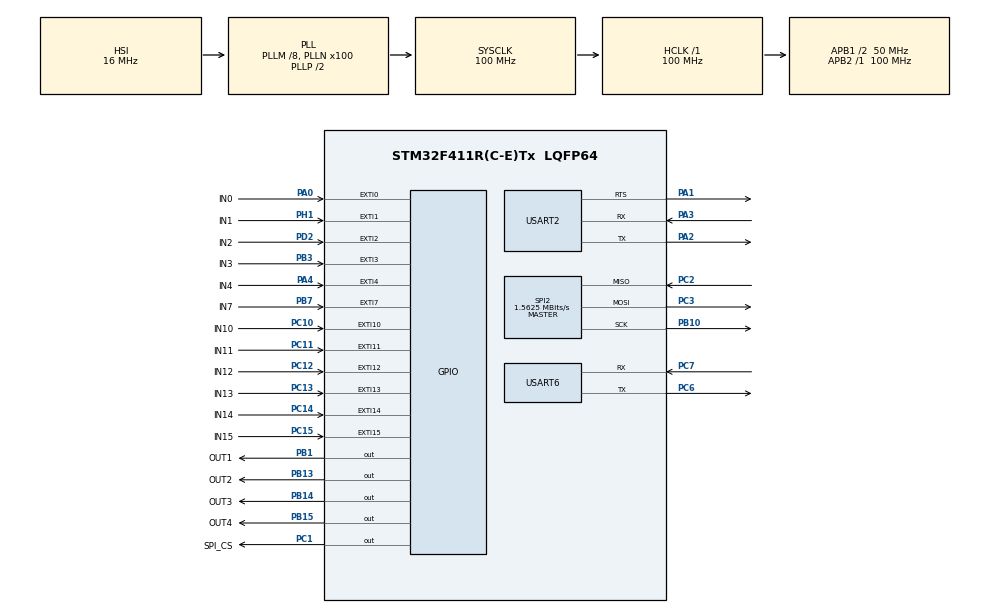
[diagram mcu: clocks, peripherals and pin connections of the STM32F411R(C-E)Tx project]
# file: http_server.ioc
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Mcu.Family=STM32F4
Mcu.Name=STM32F411R(C-E)Tx
Mcu.Package=LQFP64
NVIC.EXTI0_IRQn=true\:0\:0\:false\:false\:true
NVIC.EXTI15_10_IRQn=true\:0\:0\:false\:false\:true
NVIC.EXTI1_IRQn=true\:0\:0\:false\:false\:true
NVIC.EXTI2_IRQn=true\:0\:0\:false\:false\:true
NVIC.EXTI3_IRQn=true\:0\:0\:false\:false\:true
NVIC.EXTI4_IRQn=true\:0\:0\:false\:false\:true
NVIC.EXTI9_5_IRQn=true\:0\:0\:false\:false\:true
NVIC.PriorityGroup=NVIC_PRIORITYGROUP_0
NVIC.SPI2_IRQn=true\:0\:0\:false\:false\:true
NVIC.USART2_IRQn=true\:0\:0\:false\:false\:true
NVIC.USART6_IRQn=true\:0\:0\:false\:false\:true
PA0-WKUP.GPIO_Label=IN0
PA0-WKUP.GPIO_ModeDefaultEXTI=GPIO_MODE_IT_RISING_FALLING
PA0-WKUP.Signal=GPXTI0
PA1.Mode=RTS_Only
PA1.Signal=USART2_RTS
PA13.GPIO_Label=TMS
PA13.Signal=SYS_JTMS-SWDIO
PA14.GPIO_Label=TCK
PA14.Signal=SYS_JTCK-SWCLK
PA2.Mode=Asynchronous
PA2.Signal=USART2_TX
PA3.Mode=Asynchronous
PA3.Signal=USART2_RX
PA4.GPIO_Label=IN4
PA4.GPIO_ModeDefaultEXTI=GPIO_MODE_IT_RISING_FALLING
PA4.Signal=GPXTI4
PB1.GPIO_Label=OUT1
PB1.PinState=GPIO_PIN_SET
PB1.Signal=GPIO_Output
PB10.Mode=Full_Duplex_Master
PB10.Signal=SPI2_SCK
PB13.GPIO_Label=OUT2
PB13.PinState=GPIO_PIN_SET
PB13.Signal=GPIO_Output
PB14.GPIO_Label=OUT3
PB14.PinState=GPIO_PIN_SET
PB14.Signal=GPIO_Output
PB15.GPIO_Label=OUT4
PB15.PinState=GPIO_PIN_SET
PB15.Signal=GPIO_Output
PB3.GPIO_Label=IN3
PB3.GPIO_ModeDefaultEXTI=GPIO_MODE_IT_RISING_FALLING
PB3.Signal=GPXTI3
PB7.GPIO_Label=IN7
PB7.GPIO_ModeDefaultEXTI=GPIO_MODE_IT_RISING_FALLING
PB7.Signal=GPXTI7
PC1.GPIO_Label=SPI_CS
PC1.GPIO_Speed=GPIO_SPEED_FREQ_VERY_HIGH
PC1.Signal=GPIO_Output
PC10.GPIO_Label=IN10
PC10.GPIO_ModeDefaultEXTI=GPIO_MODE_IT_RISING_FALLING
PC10.Signal=GPXTI10
PC11.GPIO_Label=IN11
PC11.GPIO_ModeDefaultEXTI=GPIO_MODE_IT_RISING_FALLING
PC11.Signal=GPXTI11
PC12.GPIO_Label=IN12
PC12.GPIO_ModeDefaultEXTI=GPIO_MODE_IT_RISING_FALLING
PC12.Signal=GPXTI12
PC13-ANTI_TAMP.GPIO_Label=IN13
PC13-ANTI_TAMP.GPIO_ModeDefaultEXTI=GPIO_MODE_IT_RISING_FALLING
PC13-ANTI_TAMP.Signal=GPXTI13
PC14-OSC32_IN.GPIO_Label=IN14
PC14-OSC32_IN.GPIO_ModeDefaultEXTI=GPIO_MODE_IT_RISING_FALLING
PC14-OSC32_IN.Signal=GPXTI14
PC15-OSC32_OUT.GPIO_Label=IN15
PC15-OSC32_OUT.GPIO_ModeDefaultEXTI=GPIO_MODE_IT_RISING_FALLING
PC15-OSC32_OUT.Signal=GPXTI15
PC2.Mode=Full_Duplex_Master
PC2.Signal=SPI2_MISO
PC3.Mode=Full_Duplex_Master
PC3.Signal=SPI2_MOSI
PC6.Mode=Asynchronous
PC6.Signal=USART6_TX
PC7.Mode=Asynchronous
PC7.Signal=USART6_RX
PD2.GPIO_Label=IN2
PD2.GPIO_ModeDefaultEXTI=GPIO_MODE_IT_RISING_FALLING
PD2.Signal=GPXTI2
PH1\ -\ OSC_OUT.GPIO_Label=IN1
PH1\ -\ OSC_OUT.GPIO_ModeDefaultEXTI=GPIO_MODE_IT_RISING_FALLING
PH1\ -\ OSC_OUT.Signal=GPXTI1
ProjectManager.HeapSize=0x200
ProjectManager.StackSize=0x400
ProjectManager.TargetToolchain=MDK-ARM V5
RCC.48MHZClocksFreq_Value=50000000
RCC.AHBFreq_Value=100000000
RCC.APB1CLKDivider=RCC_HCLK_DIV2
RCC.APB1Freq_Value=50000000
RCC.APB1TimFreq_Value=100000000
RCC.APB2Freq_Value=100000000
RCC.APB2TimFreq_Value=100000000
RCC.CortexFreq_Value=100000000
RCC.FLatency-AdvancedSettings=FLASH_LATENCY_3
RCC.HCLKFreq_Value=100000000
RCC.HSE_VALUE=8000000
RCC.HSI_VALUE=16000000
RCC.LSE_VALUE=32768
RCC.PLLM=8
RCC.PLLN=100
RCC.SYSCLKFreq_VALUE=100000000
RCC.SYSCLKSource=RCC_SYSCLKSOURCE_PLLCLK
RCC.VCOOutputFreq_Value=200000000
RTC.Format=RTC_FORMAT_BIN
RTC.WeekDay=RTC_WEEKDAY_SUNDAY
RTC.Year=17
SPI2.BaudRatePrescaler=SPI_BAUDRATEPRESCALER_32
SPI2.CalculateBaudRate=1.5625 MBits/s
SPI2.Direction=SPI_DIRECTION_2LINES
SPI2.Mode=SPI_MODE_MASTER
SPI2.VirtualType=VM_MASTER
USART2.VirtualMode=VM_ASYNC
USART6.VirtualMode=VM_ASYNC
VP_RTC_VS_RTC_Activate.Mode=RTC_Enabled
VP_RTC_VS_RTC_Calendar.Mode=RTC_Calendar
board=NUCLEO-F411RE

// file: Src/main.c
/**
  ******************************************************************************
  * File Name          : main.c
  * Description        : Main program body
  ******************************************************************************
  ** This notice applies to any and all portions of this file
  * that are not between comment pairs USER CODE BEGIN and
  * USER CODE END. Other portions of this file, whether
  * inserted by the user or by software development tools
  * are owned by their respective copyright owners.
  *
  * COPYRIGHT(c) 2017 STMicroelectronics
  *
  * Redistribution and use in source and binary forms, with or without modification,
  * are permitted provided that the following conditions are met:
  *   1. Redistributions of source code must retain the above copyright notice,
  *      this list of conditions and the following disclaimer.
  *   2. Redistributions in binary form must reproduce the above copyright notice,
  *      this list of conditions and the following disclaimer in the documentation
  *      and/or other materials provided with the distribution.
  *   3. Neither the name of STMicroelectronics nor the names of its contributors
  *      may be used to endorse or promote products derived from this software
  *      without specific prior written permission.
  *
  * THIS SOFTWARE IS PROVIDED BY THE COPYRIGHT HOLDERS AND CONTRIBUTORS "AS IS"
  * AND ANY EXPRESS OR IMPLIED WARRANTIES, INCLUDING, BUT NOT LIMITED TO, THE
  * IMPLIED WARRANTIES OF MERCHANTABILITY AND FITNESS FOR A PARTICULAR PURPOSE ARE
  * DISCLAIMED. IN NO EVENT SHALL THE COPYRIGHT HOLDER OR CONTRIBUTORS BE LIABLE
  * FOR ANY DIRECT, INDIRECT, INCIDENTAL, SPECIAL, EXEMPLARY, OR CONSEQUENTIAL
  * DAMAGES (INCLUDING, BUT NOT LIMITED TO, PROCUREMENT OF SUBSTITUTE GOODS OR
  * SERVICES; LOSS OF USE, DATA, OR PROFITS; OR BUSINESS INTERRUPTION) HOWEVER
  * CAUSED AND ON ANY THEORY OF LIABILITY, WHETHER IN CONTRACT, STRICT LIABILITY,
  * OR TORT (INCLUDING NEGLIGENCE OR OTHERWISE) ARISING IN ANY WAY OUT OF THE USE
  * OF THIS SOFTWARE, EVEN IF ADVISED OF THE POSSIBILITY OF SUCH DAMAGE.
  *
  ******************************************************************************
  */
#include "main.h"
#include "stm32f4xx_hal.h"

/* USER CODE BEGIN Includes */

#include "../ioLibrary_Driver-master/Ethernet/wizchip_conf.h"
#include "../ioLibrary_Driver-master/Ethernet/socket.h"
#include "../ioLibrary_Driver-master/Internet/SNTP/sntp.h"
#include <string.h>

/* USER CODE END Includes */

RTC_HandleTypeDef hrtc;

SPI_HandleTypeDef hspi2;

UART_HandleTypeDef huart2;
UART_HandleTypeDef huart6;

/* USER CODE BEGIN PV */
/* Private variables ---------------------------------------------------------*/

#define http_debug

#define SEPARATOR							"=============================================\r\n"
#define WELCOME_MSG			 			"Welcome to W5100 configuration\r\n"
#define NETWORK_MSG					 	"Network configuration:\r\n"
#define IP_MSG 		 		 				" IP ADDRESS:  %d.%d.%d.%d\r\n"
#define NETMASK_MSG					 	" NETMASK:     %d.%d.%d.%d\r\n"
#define GW_MSG 		 		 				" GATEWAY:     %d.%d.%d.%d\r\n"
#define MAC_MSG		 		 				" MAC ADDRESS: %x:%x:%x:%x:%x:%x\r\n"
#define CONN_ESTABLISHED_MSG 	"Connection established with remote IP: %d.%d.%d.%d:%d\r\n"
#define SENT_MESSAGE_MSG	 		"Sent a message. Let's close the socket!\r\n"
#define WRONG_RETVAL_MSG	 		"Something went wrong; return value: %d\r\n"
#define WRONG_STATUS_MSG	 		"Something went wrong; STATUS: %d\r\n"
#define LISTEN_ERR_MSG		 		"LISTEN Error!\r\n"

char http_data[1024];
char http_request[1024];
uint16_t http_request_len=0;

uint8_t hour=0;
uint8_t minute=0;
uint8_t second=0;

uint16_t year=0;
uint8_t month=0;
uint8_t day=0;

uint8_t ntp_buf[512];

uint8_t output[4];
uint8_t input[12];

/* USER CODE END PV */

void SystemClock_Config(void);
static void MX_GPIO_Init(void);
static void MX_USART6_UART_Init(void);
static void MX_SPI2_Init(void);
static void MX_RTC_Init(void);
static void MX_USART2_UART_Init(void);

/* USER CODE BEGIN PFP */
/* Private function prototypes -----------------------------------------------*/

void cs_sel(void);
void cs_desel(void);
uint8_t spi_rb(void);
void spi_wb(uint8_t b);
void HAL_GPIO_EXTI_Callback(uint16_t GPIO_Pin);

/* USER CODE END PFP */

int main(void)
{

  /* MCU Configuration----------------------------------------------------------*/

  /* Reset of all peripherals, Initializes the Flash interface and the Systick. */
  HAL_Init();

  /* Configure the system clock */
  SystemClock_Config();

  /* Initialize all configured peripherals */
  MX_GPIO_Init();
  MX_USART6_UART_Init();
  MX_SPI2_Init();
  MX_RTC_Init();
  MX_USART2_UART_Init();

  /* USER CODE BEGIN 2 */

#ifdef http_debug
	char msg[60];
#endif

	RTC_TimeTypeDef RTC_Time;
	RTC_DateTypeDef RTC_Date;

	uint8_t retVal, sockStatus;
	uint8_t bufSize[] = {2, 2, 2, 2};

#ifdef http_debug
	HAL_UART_Transmit(&huart6, (uint8_t*)SEPARATOR, strlen(SEPARATOR), 100);
	HAL_UART_Transmit(&huart6, (uint8_t*)WELCOME_MSG, strlen(WELCOME_MSG), 100);
	HAL_UART_Transmit(&huart6, (uint8_t*)SEPARATOR, strlen(SEPARATOR), 100);
#endif

	reg_wizchip_cs_cbfunc(cs_sel, cs_desel);
	reg_wizchip_spi_cbfunc(spi_rb, spi_wb);

	wizchip_init(bufSize, bufSize);
	wiz_NetInfo netInfo = { .mac 	= {0x02, 0x08, 0xdc, 0xab, 0xcd, 0xef},	// Mac address
													.ip 	= {192, 168, 2, 5},					// IP address
													.sn 	= {255, 255, 255, 0},					// Subnet mask
													.gw 	= {192, 168, 2, 2},
													.dns = {8, 8, 8, 8},
													.dhcp = NETINFO_STATIC};					// Gateway address
	wizchip_setnetinfo(&netInfo);

	uint8_t NTP_addr[4] = {194,146,251,100};
	datetime time;

#ifdef http_debug
	wizchip_getnetinfo(&netInfo);
	HAL_UART_Transmit(&huart6, (uint8_t*)NETWORK_MSG, strlen(NETWORK_MSG), 100);
	sprintf(msg, MAC_MSG, netInfo.mac[0], netInfo.mac[1], netInfo.mac[2], netInfo.mac[3], netInfo.mac[4], netInfo.mac[5]);
	HAL_UART_Transmit(&huart6, (uint8_t*)msg, strlen(msg), 100);
	sprintf(msg, IP_MSG, netInfo.ip[0], netInfo.ip[1], netInfo.ip[2], netInfo.ip[3]);
	HAL_UART_Transmit(&huart6, (uint8_t*)msg, strlen(msg), 100);
	sprintf(msg, NETMASK_MSG, netInfo.sn[0], netInfo.sn[1], netInfo.sn[2], netInfo.sn[3]);
	HAL_UART_Transmit(&huart6, (uint8_t*)msg, strlen(msg), 100);
	sprintf(msg, GW_MSG, netInfo.gw[0], netInfo.gw[1], netInfo.gw[2], netInfo.gw[3]);
	HAL_UART_Transmit(&huart6, (uint8_t*)msg, strlen(msg), 100);
#endif

	SNTP_init(1,NTP_addr,24,ntp_buf);

  /* USER CODE END 2 */

  /* Infinite loop */
	while (1)
	{

  /* USER CODE BEGIN 3 */
/* Open socket 0 as TCP_SOCKET with port 80 */
	if((retVal = socket(0, Sn_MR_TCP, 80, 0)) == 0) {
		/* Put socket in LISTEN mode. This means we are creating a TCP server */
		if((retVal = listen(0)) == SOCK_OK) {
			/* While socket is in LISTEN mode we wait for a remote connection */
			while(sockStatus = getSn_SR(0) == SOCK_LISTEN)
				HAL_Delay(250);
			/* OK. Got a remote peer. Let's send a message to it */
			while(1) {
				/* If connection is ESTABLISHED with remote peer */
				sockStatus = getSn_SR(0);
				if(sockStatus == SOCK_ESTABLISHED) {
#ifdef http_debug
					uint8_t remoteIP[4];
					uint16_t remotePort;
					/* Retrieving remote peer IP and port number */
					getsockopt(0, SO_DESTIP, remoteIP);
					getsockopt(0, SO_DESTPORT, (uint8_t*)&remotePort);
					sprintf(msg, CONN_ESTABLISHED_MSG, remoteIP[0], remoteIP[1], remoteIP[2], remoteIP[3], remotePort);
					HAL_UART_Transmit(&huart6, (uint8_t*)msg, strlen(msg), 100);
#endif
					http_request_len = recv(0,(uint8_t *)http_request,2048);
#ifdef http_debug
					HAL_UART_Transmit(&huart6, (uint8_t*)http_request, http_request_len, 100);
#endif
					while(strstr(http_request,"\r\n\r\n") == NULL){
						http_request_len = recv(0,(uint8_t *)http_request,2048);
#ifdef http_debug
						HAL_UART_Transmit(&huart6, (uint8_t*)http_request, http_request_len, 100);
#endif
					}
					if(strstr(http_request,"GET / HTTP/1.1\r\n") != NULL){
						sprintf(http_data,"HTTP/1.1 200 OK\r\n"
															"Content-Type: text/html\r\n"
															"Connection: close\r\n"
															"\r\n"
															"<!DOCTYPE HTML>\r\n"
															"<HTML>\r\n"
															"<HEAD>\r\n"
															"<TITLE>Clock</TITLE>\r\n"
															"</HEAD>\r\n"
															"<BODY>\r\n"
															"<a href=""wyjscia"">Wyjscia</a>\r\n"
															"<br>\r\n"
															"<a href=""inputs"">Wejscia</a>\r\n"
															"<br>\r\n"
															"<a href=""sensors"">Czujniki</a>\r\n"
															"<br>\r\n"
															"<a href=""config"">Konfiguracja</a>\r\n"
															"<br>\r\n"
															"</BODY>\r\n"
															"</HTML>");
					}
					else if(strstr(http_request,"GET /config HTTP/1.1\r\n") != NULL){
						/* Let's send a welcome message and closing socket */
						HAL_RTC_GetTime(&hrtc,&RTC_Time,RTC_FORMAT_BIN);
						HAL_RTC_GetDate(&hrtc,&RTC_Date,RTC_FORMAT_BIN);
						hour=RTC_Time.Hours;
						minute=RTC_Time.Minutes;
						second=RTC_Time.Seconds;

						year=RTC_Date.Year+2000;
						month=RTC_Date.Month;
						day=RTC_Date.Date;
						if( (RTC_Date.Month > 2 && RTC_Date.Month < 9)	// miesiace od kwietnia do wrzesnia wlacznie
										|| (RTC_Date.Month == 2 && RTC_Date.Month > ( 31 - ( ( 31 - RTC_Date.Date + RTC_Date.WeekDay % 7 ) % 7 ) ) )	// dni marca po ostaniej niedzieli
										|| (RTC_Date.Month == 2 && RTC_Date.Month == ( 31 - ( ( 31 - RTC_Date.Date + RTC_Date.WeekDay % 7 ) % 7 ) ) && RTC_Time.Hours > 0 )	// ostatnia niedziela marca, po godzinie 1.00
										|| (RTC_Date.Month == 9 && RTC_Date.Month < ( 31 - ( ( 31 - RTC_Date.Date + RTC_Date.WeekDay % 7) % 7 ) ) )	// dni pazdziernika przed ostatnia niedziela
										|| (RTC_Date.Month == 9 && RTC_Date.Month == ( 31 - ( ( 31 - RTC_Date.Date + RTC_Date.WeekDay % 7) % 7 ) ) && RTC_Time.Hours < 1 ) )	// ostatnia niedziela pazdziernika, przed godzina 1.00
						{
//								if((hour=(hour+1)%24) == 0){
//									month=month+1%12;
//								};
						}
						sprintf(http_data,"HTTP/1.1 200 OK\r\n"
															"Content-Type: text/html\r\n"
															"Connection: close\r\n"
															"Refresh: 1\r\n"
															"\r\n"
															"<!DOCTYPE HTML>\r\n"
															"<HTML>\r\n"
															"<HEAD>\r\n"
															"<TITLE>Konfiguracja</TITLE>\r\n"
															"</HEAD>\r\n"
															"<BODY>\r\n"
															"<h3>Konfiguracja sieciowa</h1>\r\n"
															"Adres IP: %d.%d.%d.%d\r\n"
															"<br>\r\n"
															"Maska podsieci: %d.%d.%d.%d\r\n"
															"<br>\r\n"
															"Port: 80\r\n"
															"<h3>Czas</h1>"
															"Data: %02d-%02d-%04d\r\n"
															"<br>\r\n"
															"Czas: %02d:%02d:%02d\r\n"
															"<br>\r\n"
															"Adres serwera SNTP: %d.%d.%d.%d\r\n"
															"<br>\r\n"
															"<a href=""sync_time"">Synchronizuj czas z NTP</a>\r\n"
															"</BODY>\r\n"
															"</HTML>",
															netInfo.ip[0],netInfo.ip[1],netInfo.ip[2],netInfo.ip[3],
															netInfo.sn[0], netInfo.sn[1], netInfo.sn[2], netInfo.sn[3],
															day,month,year,
															hour,minute,second,
															NTP_addr[0],NTP_addr[1],NTP_addr[2],NTP_addr[3]);
					}
					else if(strstr(http_request,"sync_time") != NULL){
						while (SNTP_run(&time) != 1);

						RTC_Time.Hours=time.hh;
						RTC_Time.Minutes=time.mm;
						RTC_Time.Seconds=time.ss;
						HAL_RTC_SetTime(&hrtc,&RTC_Time,RTC_FORMAT_BIN);

						RTC_Date.Year=time.yy-2000;
						RTC_Date.Month=time.mo;
						RTC_Date.Date=time.dd;
						HAL_RTC_SetDate(&hrtc,&RTC_Date,RTC_FORMAT_BIN);

						HAL_RTC_GetTime(&hrtc,&RTC_Time,RTC_FORMAT_BIN);
						HAL_RTC_GetDate(&hrtc,&RTC_Date,RTC_FORMAT_BIN);
						hour=RTC_Time.Hours;
						minute=RTC_Time.Minutes;
						second=RTC_Time.Seconds;

						year=RTC_Date.Year+2000;
						month=RTC_Date.Month;
						day=RTC_Date.Date;

						if( (RTC_Date.Month > 2 && RTC_Date.Month < 9)	// miesiace od kwietnia do wrzesnia wlacznie
										|| (RTC_Date.Month == 2 && RTC_Date.Month > ( 31 - ( ( 31 - RTC_Date.Date + RTC_Date.WeekDay % 7 ) % 7 ) ) )	// dni marca po ostaniej niedzieli
										|| (RTC_Date.Month == 2 && RTC_Date.Month == ( 31 - ( ( 31 - RTC_Date.Date + RTC_Date.WeekDay % 7 ) % 7 ) ) && RTC_Time.Hours > 0 )	// ostatnia niedziela marca, po godzinie 1.00
										|| (RTC_Date.Month == 9 && RTC_Date.Month < ( 31 - ( ( 31 - RTC_Date.Date + RTC_Date.WeekDay % 7) % 7 ) ) )	// dni pazdziernika przed ostatnia niedziela
										|| (RTC_Date.Month == 9 && RTC_Date.Month == ( 31 - ( ( 31 - RTC_Date.Date + RTC_Date.WeekDay % 7) % 7 ) ) && RTC_Time.Hours < 1 ) )	// ostatnia niedziela pazdziernika, przed godzina 1.00
						{
//								hour=(hour+1)%24;
						}
						sprintf(http_data,"HTTP/1.1 200 OK\r\n"
															"Content-Type: text/html\r\n"
															"Connection: close\r\n"
															"\r\n"
															"<!DOCTYPE HTML>\r\n"
															"<HTML>\r\n"
															"<HEAD>\r\n"
															"<TITLE>Synchronizacja czasu</TITLE>\r\n"
															"</HEAD>\r\n"
															"<BODY>\r\n"
															"Synchronizacja czasu z serwerem NTP przebiegla pomyslnie</BODY>\r\n"
															"<br>\r\n"
															"Data: %02d-%02d-%04d\r\n"
															"<br>\r\n"
															"Czas: %02d:%02d:%02d\r\n"
															"<br>\r\n"
															"<a href=""config"">PowrСt</a>\r\n"
															"</BODY>\r\n"
															"</HTML>",
															day,month,year,
															hour,minute,second);
					}
					else if(strstr(http_request,"inputs") != NULL){
						sprintf(http_data,"HTTP/1.1 200 OK\r\n"
															"Content-Type: text/html\r\n"
															"Connection: close\r\n"
															"Refresh: 1\r\n"
															"\r\n"
															"<!DOCTYPE HTML>\r\n"
															"<HTML>\r\n"
															"<HEAD>\r\n"
															"<TITLE>Wejscia</TITLE>\r\n"
															"</HEAD>\r\n"
															"<BODY>\r\n"
															"Wejscie1: %d\r\n"
															"<br>\r\n"
															"Wejscie2: %d\r\n"
															"<br>\r\n"
															"Wejscie3: %d\r\n"
															"<br>\r\n"
															"Wejscie4: %d\r\n"
															"<br>\r\n"
															"Wejscie5: %d\r\n"
															"<br>\r\n"
															"Wejscie6: %d\r\n"
															"<br>\r\n"
															"Wejscie7: %d\r\n"
															"<br>\r\n"
															"Wejscie8: %d\r\n"
															"<br>\r\n"
															"Wejscie9: %d\r\n"
															"<br>\r\n"
															"Wejscie10: %d\r\n"
															"<br>\r\n"
															"Wejscie11: %d\r\n"
															"<br>\r\n"
															"Wejscie12: %d\r\n"
															"<br>\r\n"
															"</BODY>\r\n"
															"</HTML>",
															input[0],input[1],input[2],input[3],
															input[4],input[5],input[6],input[7],
															input[8],input[9],input[10],input[11]);
					}
					else if(strstr(http_request,"wyjscia") != NULL){
						sprintf(http_data,"HTTP/1.1 200 OK\r\n"
															"Content-Type: text/html\r\n"
															"Connection: close\r\n"
															"\r\n"
															"<!DOCTYPE HTML>\r\n"
															"<HTML>\r\n"
															"<HEAD>\r\n"
															"<TITLE>Wyjscia</TITLE>\r\n"
															"</HEAD>\r\n"
															"<BODY>\r\n"
															"<br>\r\n"
															"Wyjscie1: %d <a href=""OUT1=0"">Wlacz</a> <a href=""OUT1=1"">Wylacz</a>\r\n"
															"<br>\r\n"
															"Wyjscie2: %d <a href=""OUT2=0"">Wlacz</a> <a href=""OUT2=1"">Wylacz</a>\r\n"
															"<br>\r\n"
															"Wyjscie3: %d <a href=""OUT3=0"">Wlacz</a> <a href=""OUT3=1"">Wylacz</a>\r\n"
															"<br>\r\n"
															"Wyjscie4: %d <a href=""OUT4=0"">Wlacz</a> <a href=""OUT4=1"">Wylacz</a>\r\n"
															"</BODY>\r\n"
															"</HTML>",
															output[0],output[1],output[2],output[3]);
					}
					else if(strstr(http_request,"sensors") != NULL){
						sprintf(http_data,"HTTP/1.1 200 OK\r\n"
															"Content-Type: text/html\r\n"
															"Connection: close\r\n"
															"\r\n"
															"<!DOCTYPE HTML>\r\n"
															"<HTML>\r\n"
															"<HEAD>\r\n"
															"<TITLE>Czujniki</TITLE>\r\n"
															"</HEAD>\r\n"
															"<BODY>\r\n"
															"</HTML>");
					}
					else if(strstr(http_request,"OUT1=1") != NULL){
						output[0]=0;
						HAL_GPIO_WritePin(GPIOB,GPIO_PIN_1,GPIO_PIN_SET);
					}
					else if(strstr(http_request,"OUT1=0") != NULL){
						output[0]=1;
						HAL_GPIO_WritePin(GPIOB,GPIO_PIN_1,GPIO_PIN_RESET);
					}
					else if(strstr(http_request,"OUT2=1") != NULL){
						output[1]=0;
						HAL_GPIO_WritePin(GPIOB,GPIO_PIN_15,GPIO_PIN_SET);
					}
					else if(strstr(http_request,"OUT2=0") != NULL){
						output[1]=1;
						HAL_GPIO_WritePin(GPIOB,GPIO_PIN_15,GPIO_PIN_RESET);
					}
					else if(strstr(http_request,"OUT3=1") != NULL){
						output[2]=0;
						HAL_GPIO_WritePin(GPIOB,GPIO_PIN_14,GPIO_PIN_SET);
					}
					else if(strstr(http_request,"OUT3=0") != NULL){
						output[2]=1;
						HAL_GPIO_WritePin(GPIOB,GPIO_PIN_14,GPIO_PIN_RESET);
					}
					else if(strstr(http_request,"OUT4=1") != NULL){
						output[3]=0;
						HAL_GPIO_WritePin(GPIOB,GPIO_PIN_13,GPIO_PIN_SET);
					}
					else if(strstr(http_request,"OUT4=0") != NULL){
						output[3]=1;
						HAL_GPIO_WritePin(GPIOB,GPIO_PIN_13,GPIO_PIN_RESET);
					}
					else{
						sprintf(http_data,"HTTP/1.1 404 Not Found\r\n"
															"Content-Type: text/plain; charset=utf-8\r\n"
															"Content-Length: 9\r\n"
															"Connection: close\r\n"
															"\r\n"
															"Not found\r\n");
					}

					retVal = send(0, (uint8_t *)http_data,strlen(http_data));
					if((int16_t)retVal == (int16_t)strlen(http_data))
					{
#ifdef http_debug
						HAL_UART_Transmit(&huart6, (uint8_t*)SENT_MESSAGE_MSG, strlen(SENT_MESSAGE_MSG), 100);
#endif
					}
					else { /* Ops: something went wrong during data transfer */
#ifdef http_debug
						sprintf(msg, WRONG_RETVAL_MSG, retVal);
						HAL_UART_Transmit(&huart6, (uint8_t*)msg, strlen(msg), 100);
#endif
					}
					break;
				}
				else { /* Something went wrong with remote peer, maybe the connection was closed unexpectedly */
#ifdef http_debug
					sprintf(msg, WRONG_STATUS_MSG, sockStatus);
					HAL_UART_Transmit(&huart6, (uint8_t*)msg, strlen(msg), 100);
#endif
					break;
				}
			}

		} else /* Ops: socket not in LISTEN mode. Something went wrong */
			{
#ifdef http_debug
			HAL_UART_Transmit(&huart6, (uint8_t*)LISTEN_ERR_MSG, strlen(LISTEN_ERR_MSG), 100);
#endif
			}
	} else { /* Can't open the socket. This means something is wrong with W5100 configuration: maybe SPI issue? */
#ifdef http_debug
		sprintf(msg, WRONG_RETVAL_MSG, retVal);
		HAL_UART_Transmit(&huart6, (uint8_t*)msg, strlen(msg), 100);
#endif
	}

	/* We close the socket and start a connection again */
	disconnect(0);
	close(0);

	}
  /* USER CODE END 3 */

}

/** System Clock Configuration
*/
void SystemClock_Config(void)
{

  RCC_OscInitTypeDef RCC_OscInitStruct;
  RCC_ClkInitTypeDef RCC_ClkInitStruct;
  RCC_PeriphCLKInitTypeDef PeriphClkInitStruct;

    /**Configure the main internal regulator output voltage
    */
  __HAL_RCC_PWR_CLK_ENABLE();

  __HAL_PWR_VOLTAGESCALING_CONFIG(PWR_REGULATOR_VOLTAGE_SCALE1);

    /**Initializes the CPU, AHB and APB busses clocks
    */
  RCC_OscInitStruct.OscillatorType = RCC_OSCILLATORTYPE_HSI|RCC_OSCILLATORTYPE_LSI;
  RCC_OscInitStruct.HSIState = RCC_HSI_ON;
  RCC_OscInitStruct.HSICalibrationValue = 16;
  RCC_OscInitStruct.LSIState = RCC_LSI_ON;
  RCC_OscInitStruct.PLL.PLLState = RCC_PLL_ON;
  RCC_OscInitStruct.PLL.PLLSource = RCC_PLLSOURCE_HSI;
  RCC_OscInitStruct.PLL.PLLM = 8;
  RCC_OscInitStruct.PLL.PLLN = 100;
  RCC_OscInitStruct.PLL.PLLP = RCC_PLLP_DIV2;
  RCC_OscInitStruct.PLL.PLLQ = 4;
  if (HAL_RCC_OscConfig(&RCC_OscInitStruct) != HAL_OK)
  {
    _Error_Handler(__FILE__, __LINE__);
  }

    /**Initializes the CPU, AHB and APB busses clocks
    */
  RCC_ClkInitStruct.ClockType = RCC_CLOCKTYPE_HCLK|RCC_CLOCKTYPE_SYSCLK
                              |RCC_CLOCKTYPE_PCLK1|RCC_CLOCKTYPE_PCLK2;
  RCC_ClkInitStruct.SYSCLKSource = RCC_SYSCLKSOURCE_PLLCLK;
  RCC_ClkInitStruct.AHBCLKDivider = RCC_SYSCLK_DIV1;
  RCC_ClkInitStruct.APB1CLKDivider = RCC_HCLK_DIV2;
  RCC_ClkInitStruct.APB2CLKDivider = RCC_HCLK_DIV1;

  if (HAL_RCC_ClockConfig(&RCC_ClkInitStruct, FLASH_LATENCY_3) != HAL_OK)
  {
    _Error_Handler(__FILE__, __LINE__);
  }

  PeriphClkInitStruct.PeriphClockSelection = RCC_PERIPHCLK_RTC;
  PeriphClkInitStruct.RTCClockSelection = RCC_RTCCLKSOURCE_LSI;
  if (HAL_RCCEx_PeriphCLKConfig(&PeriphClkInitStruct) != HAL_OK)
  {
    _Error_Handler(__FILE__, __LINE__);
  }

    /**Configure the Systick interrupt time
    */
  HAL_SYSTICK_Config(HAL_RCC_GetHCLKFreq()/1000);

    /**Configure the Systick
    */
  HAL_SYSTICK_CLKSourceConfig(SYSTICK_CLKSOURCE_HCLK);

  /* SysTick_IRQn interrupt configuration */
  HAL_NVIC_SetPriority(SysTick_IRQn, 0, 0);
}

/* RTC init function */
static void MX_RTC_Init(void)
{

  RTC_TimeTypeDef sTime;
  RTC_DateTypeDef sDate;

    /**Initialize RTC Only
    */
  hrtc.Instance = RTC;
  hrtc.Init.HourFormat = RTC_HOURFORMAT_24;
  hrtc.Init.AsynchPrediv = 127;
  hrtc.Init.SynchPrediv = 255;
  hrtc.Init.OutPut = RTC_OUTPUT_DISABLE;
  hrtc.Init.OutPutPolarity = RTC_OUTPUT_POLARITY_HIGH;
  hrtc.Init.OutPutType = RTC_OUTPUT_TYPE_OPENDRAIN;
  if (HAL_RTC_Init(&hrtc) != HAL_OK)
  {
    _Error_Handler(__FILE__, __LINE__);
  }

    /**Initialize RTC and set the Time and Date
    */
  if(HAL_RTCEx_BKUPRead(&hrtc, RTC_BKP_DR0) != 0x32F2){
  sTime.Hours = 0;
  sTime.Minutes = 0;
  sTime.Seconds = 0;
  sTime.DayLightSaving = RTC_DAYLIGHTSAVING_NONE;
  sTime.StoreOperation = RTC_STOREOPERATION_RESET;
  if (HAL_RTC_SetTime(&hrtc, &sTime, RTC_FORMAT_BIN) != HAL_OK)
  {
    _Error_Handler(__FILE__, __LINE__);
  }

  sDate.WeekDay = RTC_WEEKDAY_SUNDAY;
  sDate.Month = RTC_MONTH_JANUARY;
  sDate.Date = 1;
  sDate.Year = 17;

  if (HAL_RTC_SetDate(&hrtc, &sDate, RTC_FORMAT_BIN) != HAL_OK)
  {
    _Error_Handler(__FILE__, __LINE__);
  }

    HAL_RTCEx_BKUPWrite(&hrtc,RTC_BKP_DR0,0x32F2);
  }

}

/* SPI2 init function */
static void MX_SPI2_Init(void)
{

  hspi2.Instance = SPI2;
  hspi2.Init.Mode = SPI_MODE_MASTER;
  hspi2.Init.Direction = SPI_DIRECTION_2LINES;
  hspi2.Init.DataSize = SPI_DATASIZE_8BIT;
  hspi2.Init.CLKPolarity = SPI_POLARITY_LOW;
  hspi2.Init.CLKPhase = SPI_PHASE_1EDGE;
  hspi2.Init.NSS = SPI_NSS_SOFT;
  hspi2.Init.BaudRatePrescaler = SPI_BAUDRATEPRESCALER_32;
  hspi2.Init.FirstBit = SPI_FIRSTBIT_MSB;
  hspi2.Init.TIMode = SPI_TIMODE_DISABLE;
  hspi2.Init.CRCCalculation = SPI_CRCCALCULATION_DISABLE;
  hspi2.Init.CRCPolynomial = 10;
  if (HAL_SPI_Init(&hspi2) != HAL_OK)
  {
    _Error_Handler(__FILE__, __LINE__);
  }

}

/* USART2 init function */
static void MX_USART2_UART_Init(void)
{

  huart2.Instance = USART2;
  huart2.Init.BaudRate = 115200;
  huart2.Init.WordLength = UART_WORDLENGTH_8B;
  huart2.Init.StopBits = UART_STOPBITS_1;
  huart2.Init.Parity = UART_PARITY_NONE;
  huart2.Init.Mode = UART_MODE_TX_RX;
  huart2.Init.HwFlowCtl = UART_HWCONTROL_RTS;
  huart2.Init.OverSampling = UART_OVERSAMPLING_16;
  if (HAL_UART_Init(&huart2) != HAL_OK)
  {
    _Error_Handler(__FILE__, __LINE__);
  }

}

/* USART6 init function */
static void MX_USART6_UART_Init(void)
{

  huart6.Instance = USART6;
  huart6.Init.BaudRate = 115200;
  huart6.Init.WordLength = UART_WORDLENGTH_8B;
  huart6.Init.StopBits = UART_STOPBITS_1;
  huart6.Init.Parity = UART_PARITY_NONE;
  huart6.Init.Mode = UART_MODE_TX_RX;
  huart6.Init.HwFlowCtl = UART_HWCONTROL_NONE;
  huart6.Init.OverSampling = UART_OVERSAMPLING_16;
  if (HAL_UART_Init(&huart6) != HAL_OK)
  {
    _Error_Handler(__FILE__, __LINE__);
  }

}

/** Configure pins as
        * Analog
        * Input
        * Output
        * EVENT_OUT
        * EXTI
*/
static void MX_GPIO_Init(void)
{

  GPIO_InitTypeDef GPIO_InitStruct;

  /* GPIO Ports Clock Enable */
  __HAL_RCC_GPIOC_CLK_ENABLE();
  __HAL_RCC_GPIOH_CLK_ENABLE();
  __HAL_RCC_GPIOA_CLK_ENABLE();
  __HAL_RCC_GPIOB_CLK_ENABLE();
  __HAL_RCC_GPIOD_CLK_ENABLE();

  /*Configure GPIO pin Output Level */
  HAL_GPIO_WritePin(SPI_CS_GPIO_Port, SPI_CS_Pin, GPIO_PIN_RESET);

  /*Configure GPIO pin Output Level */
  HAL_GPIO_WritePin(GPIOB, OUT1_Pin|OUT2_Pin|OUT3_Pin|OUT4_Pin, GPIO_PIN_SET);

  /*Configure GPIO pins : IN13_Pin IN14_Pin IN15_Pin IN10_Pin
                           IN11_Pin IN12_Pin */
  GPIO_InitStruct.Pin = IN13_Pin|IN14_Pin|IN15_Pin|IN10_Pin
                          |IN11_Pin|IN12_Pin;
  GPIO_InitStruct.Mode = GPIO_MODE_IT_RISING_FALLING;
  GPIO_InitStruct.Pull = GPIO_NOPULL;
  HAL_GPIO_Init(GPIOC, &GPIO_InitStruct);

  /*Configure GPIO pin : IN1_Pin */
  GPIO_InitStruct.Pin = IN1_Pin;
  GPIO_InitStruct.Mode = GPIO_MODE_IT_RISING_FALLING;
  GPIO_InitStruct.Pull = GPIO_NOPULL;
  HAL_GPIO_Init(IN1_GPIO_Port, &GPIO_InitStruct);

  /*Configure GPIO pin : SPI_CS_Pin */
  GPIO_InitStruct.Pin = SPI_CS_Pin;
  GPIO_InitStruct.Mode = GPIO_MODE_OUTPUT_PP;
  GPIO_InitStruct.Pull = GPIO_NOPULL;
  GPIO_InitStruct.Speed = GPIO_SPEED_FREQ_VERY_HIGH;
  HAL_GPIO_Init(SPI_CS_GPIO_Port, &GPIO_InitStruct);

  /*Configure GPIO pins : IN0_Pin IN4_Pin */
  GPIO_InitStruct.Pin = IN0_Pin|IN4_Pin;
  GPIO_InitStruct.Mode = GPIO_MODE_IT_RISING_FALLING;
  GPIO_InitStruct.Pull = GPIO_NOPULL;
  HAL_GPIO_Init(GPIOA, &GPIO_InitStruct);

  /*Configure GPIO pins : OUT1_Pin OUT2_Pin OUT3_Pin OUT4_Pin */
  GPIO_InitStruct.Pin = OUT1_Pin|OUT2_Pin|OUT3_Pin|OUT4_Pin;
  GPIO_InitStruct.Mode = GPIO_MODE_OUTPUT_PP;
  GPIO_InitStruct.Pull = GPIO_NOPULL;
  GPIO_InitStruct.Speed = GPIO_SPEED_FREQ_LOW;
  HAL_GPIO_Init(GPIOB, &GPIO_InitStruct);

  /*Configure GPIO pin : IN2_Pin */
  GPIO_InitStruct.Pin = IN2_Pin;
  GPIO_InitStruct.Mode = GPIO_MODE_IT_RISING_FALLING;
  GPIO_InitStruct.Pull = GPIO_NOPULL;
  HAL_GPIO_Init(IN2_GPIO_Port, &GPIO_InitStruct);

  /*Configure GPIO pins : IN3_Pin IN7_Pin */
  GPIO_InitStruct.Pin = IN3_Pin|IN7_Pin;
  GPIO_InitStruct.Mode = GPIO_MODE_IT_RISING_FALLING;
  GPIO_InitStruct.Pull = GPIO_NOPULL;
  HAL_GPIO_Init(GPIOB, &GPIO_InitStruct);

  /* EXTI interrupt init*/
  HAL_NVIC_SetPriority(EXTI0_IRQn, 0, 0);
  HAL_NVIC_EnableIRQ(EXTI0_IRQn);

  HAL_NVIC_SetPriority(EXTI1_IRQn, 0, 0);
  HAL_NVIC_EnableIRQ(EXTI1_IRQn);

  HAL_NVIC_SetPriority(EXTI2_IRQn, 0, 0);
  HAL_NVIC_EnableIRQ(EXTI2_IRQn);

  HAL_NVIC_SetPriority(EXTI3_IRQn, 0, 0);
  HAL_NVIC_EnableIRQ(EXTI3_IRQn);

  HAL_NVIC_SetPriority(EXTI4_IRQn, 0, 0);
  HAL_NVIC_EnableIRQ(EXTI4_IRQn);

  HAL_NVIC_SetPriority(EXTI9_5_IRQn, 0, 0);
  HAL_NVIC_EnableIRQ(EXTI9_5_IRQn);

  HAL_NVIC_SetPriority(EXTI15_10_IRQn, 0, 0);
  HAL_NVIC_EnableIRQ(EXTI15_10_IRQn);

}

/* USER CODE BEGIN 4 */

void cs_sel() {
	HAL_GPIO_WritePin(GPIOC, GPIO_PIN_1, GPIO_PIN_RESET); //CS LOW
}

void cs_desel() {
	HAL_GPIO_WritePin(GPIOC, GPIO_PIN_1, GPIO_PIN_SET); //CS HIGH
}

uint8_t spi_rb(void) {
	uint8_t rbuf;
	HAL_SPI_Receive(&hspi2, &rbuf, 1, 0xFFFFFFFF);
	return rbuf;
}

void spi_wb(uint8_t b) {
	HAL_SPI_Transmit(&hspi2, &b, 1, 0xFFFFFFFF);
}

void PRINT_STR(char *msg){
		HAL_UART_Transmit(&huart6, (uint8_t*)msg, strlen(msg), 100);
}

void HAL_GPIO_EXTI_Callback(uint16_t GPIO_Pin){
 if(GPIO_Pin == GPIO_PIN_0){
		input[0]=HAL_GPIO_ReadPin(GPIOA,GPIO_PIN_0);
		if(input[0]==0){
				output[0]=1;
				HAL_GPIO_WritePin(GPIOB,GPIO_PIN_1,GPIO_PIN_SET);									//enable
		}
		else{
				output[0]=0;
				HAL_GPIO_WritePin(GPIOB,GPIO_PIN_1,GPIO_PIN_RESET);								//disable
		}
 }
 else if(GPIO_Pin == GPIO_PIN_1){
		input[1]=HAL_GPIO_ReadPin(GPIOH,GPIO_PIN_1);
	 		if(input[1]==1){
				output[1]=0;
				HAL_GPIO_WritePin(GPIOB,GPIO_PIN_15,GPIO_PIN_RESET);							//enable
		}
		else{
				output[1]=1;
				HAL_GPIO_WritePin(GPIOB,GPIO_PIN_15,GPIO_PIN_SET);								//disable
		}
 }
 else if(GPIO_Pin == GPIO_PIN_2){
		input[2]=HAL_GPIO_ReadPin(GPIOD,GPIO_PIN_2);
		if(input[2]==1){
				output[2]=0;
				HAL_GPIO_WritePin(GPIOB,GPIO_PIN_14,GPIO_PIN_RESET);							//enable
		}
		else{
				output[2]=1;
				HAL_GPIO_WritePin(GPIOB,GPIO_PIN_14,GPIO_PIN_SET);								//disable
		}
 }
 else if(GPIO_Pin == GPIO_PIN_3){
		input[3]=HAL_GPIO_ReadPin(GPIOB,GPIO_PIN_3);
		if(input[3]==1){
				output[3]=0;
				HAL_GPIO_WritePin(GPIOB,GPIO_PIN_13,GPIO_PIN_RESET);							//enable
		}
		else{
				output[3]=1;
				HAL_GPIO_WritePin(GPIOB,GPIO_PIN_13,GPIO_PIN_SET);								//disable
		}
 }
 else if(GPIO_Pin == GPIO_PIN_4){
		if(output[0]==1){
				output[0]=0;
				HAL_GPIO_WritePin(GPIOB,GPIO_PIN_1,GPIO_PIN_RESET);								//enable
		}
		else{
				output[0]=1;
				HAL_GPIO_WritePin(GPIOB,GPIO_PIN_1,GPIO_PIN_SET);									//disable
		}
 }
  else if(GPIO_Pin == GPIO_PIN_7){
		if(output[1]==1){
				output[1]=0;
				HAL_GPIO_WritePin(GPIOB,GPIO_PIN_15,GPIO_PIN_RESET);							//enable
		}
		else{
				output[1]=1;
				HAL_GPIO_WritePin(GPIOB,GPIO_PIN_15,GPIO_PIN_SET);								//disable
		}
 }
 else if(GPIO_Pin == GPIO_PIN_10){
		if(output[2]==1){
				output[2]=0;
				HAL_GPIO_WritePin(GPIOB,GPIO_PIN_14,GPIO_PIN_RESET);							//enable
		}
		else{
				output[2]=1;
				HAL_GPIO_WritePin(GPIOB,GPIO_PIN_14,GPIO_PIN_SET);								//disable
		}
 }
 else if(GPIO_Pin == GPIO_PIN_11){
		if(output[3]==1){
				output[3]=0;
				HAL_GPIO_WritePin(GPIOB,GPIO_PIN_13,GPIO_PIN_RESET);							//enable
		}
		else{
				output[3]=1;
				HAL_GPIO_WritePin(GPIOB,GPIO_PIN_13,GPIO_PIN_SET);								//disable
		}
 }
 else if(GPIO_Pin == GPIO_PIN_12){
		input[8]=HAL_GPIO_ReadPin(GPIOC,GPIO_PIN_12);
 }
 else if(GPIO_Pin == GPIO_PIN_13){
		input[9]=HAL_GPIO_ReadPin(GPIOC,GPIO_PIN_13);
 }
 else if(GPIO_Pin == GPIO_PIN_14){
		input[10]=HAL_GPIO_ReadPin(GPIOC,GPIO_PIN_14);
 }
 else if(GPIO_Pin == GPIO_PIN_15){
		input[11]=HAL_GPIO_ReadPin(GPIOC,GPIO_PIN_15);
 }
}

/* USER CODE END 4 */

void _Error_Handler(char * file, int line)
{
	while(1)
	{
	}
}

/************************ (C) COPYRIGHT STMicroelectronics *****END OF FILE****/
